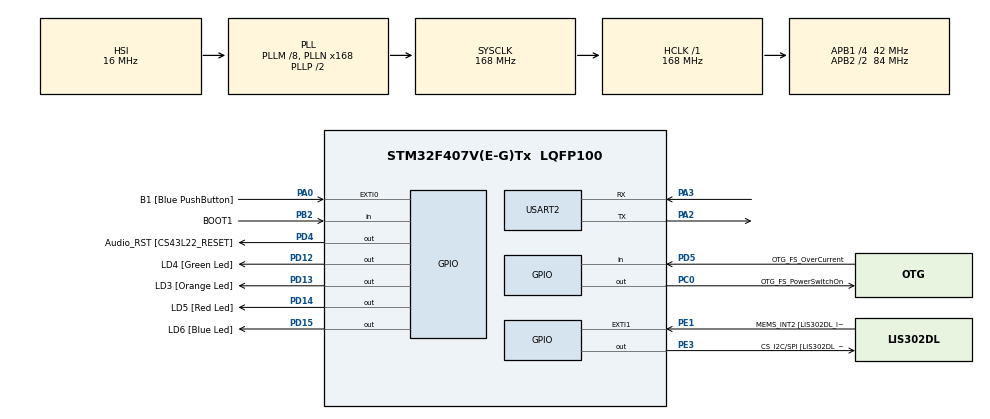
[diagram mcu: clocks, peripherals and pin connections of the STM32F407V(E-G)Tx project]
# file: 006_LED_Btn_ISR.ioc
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Mcu.Family=STM32F4
Mcu.Name=STM32F407V(E-G)Tx
Mcu.Package=LQFP100
NVIC.EXTI0_IRQn=true\:6\:0\:true\:false\:true\:true\:true\:true
NVIC.PriorityGroup=NVIC_PRIORITYGROUP_4
NVIC.TIM6_DAC_IRQn=true\:15\:0\:false\:false\:true\:false\:true\:true
NVIC.TimeBase=TIM6_DAC_IRQn
NVIC.TimeBaseIP=TIM6
PA0-WKUP.GPIO_Label=B1 [Blue PushButton]
PA0-WKUP.GPIO_ModeDefaultEXTI=GPIO_MODE_IT_FALLING
PA0-WKUP.Signal=GPXTI0
PA10.GPIO_Label=OTG_FS_ID
PA10.GPIO_Mode=GPIO_MODE_AF_PP
PA10.GPIO_PuPd=GPIO_NOPULL
PA10.GPIO_Speed=GPIO_SPEED_FREQ_LOW
PA10.Signal=USB_OTG_FS_ID
PA11.GPIO_Label=OTG_FS_DM
PA11.GPIO_Mode=GPIO_MODE_AF_PP
PA11.GPIO_PuPd=GPIO_NOPULL
PA11.GPIO_Speed=GPIO_SPEED_FREQ_LOW
PA11.Signal=USB_OTG_FS_DM
PA12.GPIO_Label=OTG_FS_DP
PA12.GPIO_Mode=GPIO_MODE_AF_PP
PA12.GPIO_PuPd=GPIO_NOPULL
PA12.GPIO_Speed=GPIO_SPEED_FREQ_LOW
PA12.Signal=USB_OTG_FS_DP
PA13.GPIO_Label=SWDIO
PA13.Signal=SYS_JTMS-SWDIO
PA14.GPIO_Label=SWCLK
PA14.Signal=SYS_JTCK-SWCLK
PA2.Mode=Asynchronous
PA2.Signal=USART2_TX
PA3.Mode=Asynchronous
PA3.Signal=USART2_RX
PA4.GPIO_Label=I2S3_WS [CS43L22_LRCK]
PA4.GPIO_Mode=GPIO_MODE_AF_PP
PA4.GPIO_PuPd=GPIO_NOPULL
PA4.GPIO_Speed=GPIO_SPEED_FREQ_LOW
PA4.Signal=I2S3_WS
PA5.GPIO_Label=SPI1_SCK [LIS302DL_SCL/SPC]
PA5.GPIO_Mode=GPIO_MODE_AF_PP
PA5.GPIO_PuPd=GPIO_NOPULL
PA5.GPIO_Speed=GPIO_SPEED_FREQ_LOW
PA5.Signal=SPI1_SCK
PA6.GPIO_Label=SPI1_MISO [LIS302DL_SDO]
PA6.GPIO_Mode=GPIO_MODE_AF_PP
PA6.GPIO_PuPd=GPIO_NOPULL
PA6.GPIO_Speed=GPIO_SPEED_FREQ_LOW
PA6.Signal=SPI1_MISO
PA7.GPIO_Label=SPI1_MOSI [LIS302DL_SDA/SDI/SDO]
PA7.GPIO_Mode=GPIO_MODE_AF_PP
PA7.GPIO_PuPd=GPIO_NOPULL
PA7.GPIO_Speed=GPIO_SPEED_FREQ_LOW
PA7.Signal=SPI1_MOSI
PA9.GPIO_Label=VBUS_FS
PA9.GPIO_Mode=GPIO_MODE_INPUT
PA9.GPIO_PuPd=GPIO_NOPULL
PA9.Signal=USB_OTG_FS_VBUS
PB10.GPIO_Label=CLK_IN [MP45DT02_CLK]
PB10.GPIO_Mode=GPIO_MODE_AF_PP
PB10.GPIO_PuPd=GPIO_NOPULL
PB10.GPIO_Speed=GPIO_SPEED_FREQ_LOW
PB10.Signal=I2S2_CK
PB2.GPIO_Label=BOOT1
PB2.GPIO_Mode=GPIO_MODE_INPUT
PB2.GPIO_PuPd=GPIO_NOPULL
PB2.Signal=GPIO_Input
PB3.GPIO_Label=SWO
PB3.Signal=SYS_JTDO-SWO
PB6.GPIO_Label=Audio_SCL [CS43L22_SCL]
PB6.GPIO_Mode=GPIO_MODE_AF_OD
PB6.GPIO_PuPd=GPIO_NOPULL
PB6.GPIO_Speed=GPIO_SPEED_FREQ_LOW
PB6.Signal=I2C1_SCL
PB9.GPIO_Label=Audio_SDA [CS43L22_SDA]
PB9.GPIO_Mode=GPIO_MODE_AF_OD
PB9.GPIO_PuPd=GPIO_NOPULL
PB9.GPIO_Speed=GPIO_SPEED_FREQ_LOW
PB9.Signal=I2C1_SDA
PC0.GPIO_Label=OTG_FS_PowerSwitchOn
PC0.GPIO_PuPd=GPIO_NOPULL
PC0.GPIO_Speed=GPIO_SPEED_FREQ_LOW
PC0.PinState=GPIO_PIN_SET
PC0.Signal=GPIO_Output
PC10.GPIO_Label=I2S3_SCK [CS43L22_SCLK]
PC10.GPIO_Mode=GPIO_MODE_AF_PP
PC10.GPIO_PuPd=GPIO_NOPULL
PC10.GPIO_Speed=GPIO_SPEED_FREQ_LOW
PC10.Signal=I2S3_CK
PC12.GPIO_Label=I2S3_SD [CS43L22_SDIN]
PC12.GPIO_Mode=GPIO_MODE_AF_PP
PC12.GPIO_PuPd=GPIO_NOPULL
PC12.GPIO_Speed=GPIO_SPEED_FREQ_LOW
PC12.Signal=I2S3_SD
PC14-OSC32_IN.GPIO_Label=PC14-OSC32_IN
PC14-OSC32_IN.Signal=RCC_OSC32_IN
PC15-OSC32_OUT.GPIO_Label=PC15-OSC32_OUT
PC15-OSC32_OUT.Signal=RCC_OSC32_OUT
PC3.GPIO_Label=PDM_OUT [MP45DT02_DOUT]
PC3.GPIO_Mode=GPIO_MODE_AF_PP
PC3.GPIO_PuPd=GPIO_NOPULL
PC3.GPIO_Speed=GPIO_SPEED_FREQ_LOW
PC3.Signal=I2S2_SD
PC7.GPIO_Label=I2S3_MCK [CS43L22_MCLK]
PC7.GPIO_Mode=GPIO_MODE_AF_PP
PC7.GPIO_PuPd=GPIO_NOPULL
PC7.GPIO_Speed=GPIO_SPEED_FREQ_LOW
PC7.Signal=I2S3_MCK
PD12.GPIO_Label=LD4 [Green Led]
PD12.GPIO_PuPd=GPIO_NOPULL
PD12.GPIO_Speed=GPIO_SPEED_FREQ_LOW
PD12.Signal=GPIO_Output
PD13.GPIO_Label=LD3 [Orange Led]
PD13.GPIO_PuPd=GPIO_NOPULL
PD13.GPIO_Speed=GPIO_SPEED_FREQ_LOW
PD13.Signal=GPIO_Output
PD14.GPIO_Label=LD5 [Red Led]
PD14.GPIO_PuPd=GPIO_NOPULL
PD14.GPIO_Speed=GPIO_SPEED_FREQ_LOW
PD14.Signal=GPIO_Output
PD15.GPIO_Label=LD6 [Blue Led]
PD15.GPIO_PuPd=GPIO_NOPULL
PD15.GPIO_Speed=GPIO_SPEED_FREQ_LOW
PD15.Signal=GPIO_Output
PD4.GPIO_Label=Audio_RST [CS43L22_RESET]
PD4.GPIO_PuPd=GPIO_NOPULL
PD4.GPIO_Speed=GPIO_SPEED_FREQ_LOW
PD4.Signal=GPIO_Output
PD5.GPIO_Label=OTG_FS_OverCurrent
PD5.GPIO_Mode=GPIO_MODE_INPUT
PD5.GPIO_PuPd=GPIO_NOPULL
PD5.Signal=GPIO_Input
PE1.GPIO_Label=MEMS_INT2 [LIS302DL_INT2]
PE1.GPIO_ModeDefaultEXTI=GPIO_MODE_EVT_RISING
PE1.GPIO_PuPd=GPIO_NOPULL
PE1.Signal=GPXTI1
PE3.GPIO_Label=CS_I2C/SPI [LIS302DL_CS_I2C/SPI]
PE3.GPIO_PuPd=GPIO_NOPULL
PE3.GPIO_Speed=GPIO_SPEED_FREQ_LOW
PE3.Signal=GPIO_Output
PH0-OSC_IN.GPIO_Label=PH0-OSC_IN
PH0-OSC_IN.Signal=RCC_OSC_IN
PH1-OSC_OUT.GPIO_Label=PH1-OSC_OUT
PH1-OSC_OUT.Signal=RCC_OSC_OUT
ProjectManager.HeapSize=0x200
ProjectManager.StackSize=0x400
ProjectManager.TargetToolchain=STM32CubeIDE
RCC.48MHZClocksFreq_Value=48000000
RCC.AHBFreq_Value=168000000
RCC.APB1CLKDivider=RCC_HCLK_DIV4
RCC.APB1Freq_Value=42000000
RCC.APB1TimFreq_Value=84000000
RCC.APB2CLKDivider=RCC_HCLK_DIV2
RCC.APB2Freq_Value=84000000
RCC.APB2TimFreq_Value=168000000
RCC.CortexFreq_Value=168000000
RCC.HCLKFreq_Value=168000000
RCC.HSE_VALUE=8000000
RCC.HSI_VALUE=16000000
RCC.LSE_VALUE=32768
RCC.PLLM=8
RCC.PLLN=168
RCC.PLLQ=7
RCC.SYSCLKFreq_VALUE=168000000
RCC.SYSCLKSource=RCC_SYSCLKSOURCE_PLLCLK
RCC.VCOOutputFreq_Value=336000000
USART2.VirtualMode=VM_ASYNC
VP_SYS_VS_tim6.Mode=TIM6
board=STM32F407G-DISC1

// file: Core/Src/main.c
/* USER CODE BEGIN Header */
/**
  ******************************************************************************
  * @file           : main.c
  * @brief          : Main program body
  ******************************************************************************
  * @attention
  *
  * Copyright (c) 2025 STMicroelectronics.
  * All rights reserved.
  *
  * This software is licensed under terms that can be found in the LICENSE file
  * in the root directory of this software component.
  * If no LICENSE file comes with this software, it is provided AS-IS.
  *
  ******************************************************************************
  */
/* USER CODE END Header */
#include "main.h"

/* USER CODE BEGIN Includes */
	#include<stdio.h>
	#include"FreeRTOS.h"
	#include"task.h"

/* USER CODE END Includes */

UART_HandleTypeDef huart2;

/* USER CODE BEGIN PV */
#define DWT_CTRL  (*(volatile uint32_t*)0xE0001000)

/* USER CODE END PV */

void SystemClock_Config(void);
static void MX_GPIO_Init(void);
static void MX_USART2_UART_Init(void);
/* USER CODE BEGIN PFP */
static void led_green_handler(void* parameters);
static void led_orange_handler(void* parameters);
static void led_red_handler(void* parameters);

extern void SEGGER_UART_init(uint32_t);

/* USER CODE END PFP */

/* USER CODE BEGIN 0 */
TaskHandle_t ledg_task_handle;
TaskHandle_t ledo_task_handle;
TaskHandle_t ledr_task_handle;
TaskHandle_t btn_task_handle;

TaskHandle_t volatile next_task_handle = NULL;

/* USER CODE END 0 */

int main(void)
{

  /* USER CODE BEGIN 1 */

	BaseType_t status;

  /* USER CODE END 1 */

  /* MCU Configuration--------------------------------------------------------*/

  /* Reset of all peripherals, Initializes the Flash interface and the Systick. */
  HAL_Init();

  /* Configure the system clock */
  SystemClock_Config();

  /* Initialize all configured peripherals */
  MX_GPIO_Init();
  MX_USART2_UART_Init();
  /* USER CODE BEGIN 2 */

  SEGGER_UART_init(500000);

  //Enable the CYCCNT counter
     DWT_CTRL |= (1<<0);

    SEGGER_SYSVIEW_Conf();

   // SEGGER_SYSVIEW_Start();

  	status=xTaskCreate(led_green_handler,"LED-Green_task",200,NULL,3,&ledg_task_handle);
  	configASSERT(status == pdPASS);
  	next_task_handle = ledg_task_handle;

  	status=xTaskCreate(led_orange_handler,"LED-Orange_task",200,NULL,2,&ledo_task_handle);
  	configASSERT(status == pdPASS);

  	status=xTaskCreate(led_red_handler,"LED-Red_task",200,NULL,1,&ledr_task_handle);
  	configASSERT(status == pdPASS);

  	//start the freeRTOS scheduler
  	vTaskStartScheduler();

  /* USER CODE END 2 */

  /* Infinite loop */
  while (1)
  {

  }
}

void SystemClock_Config(void)
{
  RCC_OscInitTypeDef RCC_OscInitStruct = {0};
  RCC_ClkInitTypeDef RCC_ClkInitStruct = {0};

  /** Configure the main internal regulator output voltage
  */
  __HAL_RCC_PWR_CLK_ENABLE();
  __HAL_PWR_VOLTAGESCALING_CONFIG(PWR_REGULATOR_VOLTAGE_SCALE1);

  /** Initializes the RCC Oscillators according to the specified parameters
  * in the RCC_OscInitTypeDef structure.
  */
  RCC_OscInitStruct.OscillatorType = RCC_OSCILLATORTYPE_HSI;
  RCC_OscInitStruct.HSIState = RCC_HSI_ON;
  RCC_OscInitStruct.HSICalibrationValue = RCC_HSICALIBRATION_DEFAULT;
  RCC_OscInitStruct.PLL.PLLState = RCC_PLL_ON;
  RCC_OscInitStruct.PLL.PLLSource = RCC_PLLSOURCE_HSI;
  RCC_OscInitStruct.PLL.PLLM = 8;
  RCC_OscInitStruct.PLL.PLLN = 168;
  RCC_OscInitStruct.PLL.PLLP = RCC_PLLP_DIV2;
  RCC_OscInitStruct.PLL.PLLQ = 7;
  if (HAL_RCC_OscConfig(&RCC_OscInitStruct) != HAL_OK)
  {
    Error_Handler();
  }

  /** Initializes the CPU, AHB and APB buses clocks
  */
  RCC_ClkInitStruct.ClockType = RCC_CLOCKTYPE_HCLK|RCC_CLOCKTYPE_SYSCLK
                              |RCC_CLOCKTYPE_PCLK1|RCC_CLOCKTYPE_PCLK2;
  RCC_ClkInitStruct.SYSCLKSource = RCC_SYSCLKSOURCE_PLLCLK;
  RCC_ClkInitStruct.AHBCLKDivider = RCC_SYSCLK_DIV1;
  RCC_ClkInitStruct.APB1CLKDivider = RCC_HCLK_DIV4;
  RCC_ClkInitStruct.APB2CLKDivider = RCC_HCLK_DIV2;

  if (HAL_RCC_ClockConfig(&RCC_ClkInitStruct, FLASH_LATENCY_5) != HAL_OK)
  {
    Error_Handler();
  }
}

static void MX_USART2_UART_Init(void)
{

  huart2.Instance = USART2;
  huart2.Init.BaudRate = 115200;
  huart2.Init.WordLength = UART_WORDLENGTH_8B;
  huart2.Init.StopBits = UART_STOPBITS_1;
  huart2.Init.Parity = UART_PARITY_NONE;
  huart2.Init.Mode = UART_MODE_TX_RX;
  huart2.Init.HwFlowCtl = UART_HWCONTROL_NONE;
  huart2.Init.OverSampling = UART_OVERSAMPLING_16;
  if (HAL_UART_Init(&huart2) != HAL_OK)
  {
    Error_Handler();
  }

}

static void MX_GPIO_Init(void)
{
  GPIO_InitTypeDef GPIO_InitStruct = {0};

  /* GPIO Ports Clock Enable */
  __HAL_RCC_GPIOE_CLK_ENABLE();
  __HAL_RCC_GPIOC_CLK_ENABLE();
  __HAL_RCC_GPIOH_CLK_ENABLE();
  __HAL_RCC_GPIOA_CLK_ENABLE();
  __HAL_RCC_GPIOB_CLK_ENABLE();
  __HAL_RCC_GPIOD_CLK_ENABLE();

  /*Configure GPIO pin Output Level */
  HAL_GPIO_WritePin(CS_I2C_SPI_GPIO_Port, CS_I2C_SPI_Pin, GPIO_PIN_RESET);

  /*Configure GPIO pin Output Level */
  HAL_GPIO_WritePin(OTG_FS_PowerSwitchOn_GPIO_Port, OTG_FS_PowerSwitchOn_Pin, GPIO_PIN_SET);

  /*Configure GPIO pin Output Level */
  HAL_GPIO_WritePin(GPIOD, LD4_Pin|LD3_Pin|LD5_Pin|LD6_Pin
                          |Audio_RST_Pin, GPIO_PIN_RESET);

  /*Configure GPIO pin : CS_I2C_SPI_Pin */
  GPIO_InitStruct.Pin = CS_I2C_SPI_Pin;
  GPIO_InitStruct.Mode = GPIO_MODE_OUTPUT_PP;
  GPIO_InitStruct.Pull = GPIO_NOPULL;
  GPIO_InitStruct.Speed = GPIO_SPEED_FREQ_LOW;
  HAL_GPIO_Init(CS_I2C_SPI_GPIO_Port, &GPIO_InitStruct);

  /*Configure GPIO pin : OTG_FS_PowerSwitchOn_Pin */
  GPIO_InitStruct.Pin = OTG_FS_PowerSwitchOn_Pin;
  GPIO_InitStruct.Mode = GPIO_MODE_OUTPUT_PP;
  GPIO_InitStruct.Pull = GPIO_NOPULL;
  GPIO_InitStruct.Speed = GPIO_SPEED_FREQ_LOW;
  HAL_GPIO_Init(OTG_FS_PowerSwitchOn_GPIO_Port, &GPIO_InitStruct);

  /*Configure GPIO pin : PDM_OUT_Pin */
  GPIO_InitStruct.Pin = PDM_OUT_Pin;
  GPIO_InitStruct.Mode = GPIO_MODE_AF_PP;
  GPIO_InitStruct.Pull = GPIO_NOPULL;
  GPIO_InitStruct.Speed = GPIO_SPEED_FREQ_LOW;
  GPIO_InitStruct.Alternate = GPIO_AF5_SPI2;
  HAL_GPIO_Init(PDM_OUT_GPIO_Port, &GPIO_InitStruct);

  /*Configure GPIO pin : B1_Pin */
  GPIO_InitStruct.Pin = B1_Pin;
  GPIO_InitStruct.Mode = GPIO_MODE_IT_FALLING;
  GPIO_InitStruct.Pull = GPIO_NOPULL;
  HAL_GPIO_Init(B1_GPIO_Port, &GPIO_InitStruct);

  /*Configure GPIO pin : I2S3_WS_Pin */
  GPIO_InitStruct.Pin = I2S3_WS_Pin;
  GPIO_InitStruct.Mode = GPIO_MODE_AF_PP;
  GPIO_InitStruct.Pull = GPIO_NOPULL;
  GPIO_InitStruct.Speed = GPIO_SPEED_FREQ_LOW;
  GPIO_InitStruct.Alternate = GPIO_AF6_SPI3;
  HAL_GPIO_Init(I2S3_WS_GPIO_Port, &GPIO_InitStruct);

  /*Configure GPIO pins : SPI1_SCK_Pin SPI1_MISO_Pin SPI1_MOSI_Pin */
  GPIO_InitStruct.Pin = SPI1_SCK_Pin|SPI1_MISO_Pin|SPI1_MOSI_Pin;
  GPIO_InitStruct.Mode = GPIO_MODE_AF_PP;
  GPIO_InitStruct.Pull = GPIO_NOPULL;
  GPIO_InitStruct.Speed = GPIO_SPEED_FREQ_LOW;
  GPIO_InitStruct.Alternate = GPIO_AF5_SPI1;
  HAL_GPIO_Init(GPIOA, &GPIO_InitStruct);

  /*Configure GPIO pin : BOOT1_Pin */
  GPIO_InitStruct.Pin = BOOT1_Pin;
  GPIO_InitStruct.Mode = GPIO_MODE_INPUT;
  GPIO_InitStruct.Pull = GPIO_NOPULL;
  HAL_GPIO_Init(BOOT1_GPIO_Port, &GPIO_InitStruct);

  /*Configure GPIO pin : CLK_IN_Pin */
  GPIO_InitStruct.Pin = CLK_IN_Pin;
  GPIO_InitStruct.Mode = GPIO_MODE_AF_PP;
  GPIO_InitStruct.Pull = GPIO_NOPULL;
  GPIO_InitStruct.Speed = GPIO_SPEED_FREQ_LOW;
  GPIO_InitStruct.Alternate = GPIO_AF5_SPI2;
  HAL_GPIO_Init(CLK_IN_GPIO_Port, &GPIO_InitStruct);

  /*Configure GPIO pins : LD4_Pin LD3_Pin LD5_Pin LD6_Pin
                           Audio_RST_Pin */
  GPIO_InitStruct.Pin = LD4_Pin|LD3_Pin|LD5_Pin|LD6_Pin
                          |Audio_RST_Pin;
  GPIO_InitStruct.Mode = GPIO_MODE_OUTPUT_PP;
  GPIO_InitStruct.Pull = GPIO_NOPULL;
  GPIO_InitStruct.Speed = GPIO_SPEED_FREQ_LOW;
  HAL_GPIO_Init(GPIOD, &GPIO_InitStruct);

  /*Configure GPIO pins : I2S3_MCK_Pin I2S3_SCK_Pin I2S3_SD_Pin */
  GPIO_InitStruct.Pin = I2S3_MCK_Pin|I2S3_SCK_Pin|I2S3_SD_Pin;
  GPIO_InitStruct.Mode = GPIO_MODE_AF_PP;
  GPIO_InitStruct.Pull = GPIO_NOPULL;
  GPIO_InitStruct.Speed = GPIO_SPEED_FREQ_LOW;
  GPIO_InitStruct.Alternate = GPIO_AF6_SPI3;
  HAL_GPIO_Init(GPIOC, &GPIO_InitStruct);

  /*Configure GPIO pin : VBUS_FS_Pin */
  GPIO_InitStruct.Pin = VBUS_FS_Pin;
  GPIO_InitStruct.Mode = GPIO_MODE_INPUT;
  GPIO_InitStruct.Pull = GPIO_NOPULL;
  HAL_GPIO_Init(VBUS_FS_GPIO_Port, &GPIO_InitStruct);

  /*Configure GPIO pins : OTG_FS_ID_Pin OTG_FS_DM_Pin OTG_FS_DP_Pin */
  GPIO_InitStruct.Pin = OTG_FS_ID_Pin|OTG_FS_DM_Pin|OTG_FS_DP_Pin;
  GPIO_InitStruct.Mode = GPIO_MODE_AF_PP;
  GPIO_InitStruct.Pull = GPIO_NOPULL;
  GPIO_InitStruct.Speed = GPIO_SPEED_FREQ_LOW;
  GPIO_InitStruct.Alternate = GPIO_AF10_OTG_FS;
  HAL_GPIO_Init(GPIOA, &GPIO_InitStruct);

  /*Configure GPIO pin : OTG_FS_OverCurrent_Pin */
  GPIO_InitStruct.Pin = OTG_FS_OverCurrent_Pin;
  GPIO_InitStruct.Mode = GPIO_MODE_INPUT;
  GPIO_InitStruct.Pull = GPIO_NOPULL;
  HAL_GPIO_Init(OTG_FS_OverCurrent_GPIO_Port, &GPIO_InitStruct);

  /*Configure GPIO pins : Audio_SCL_Pin Audio_SDA_Pin */
  GPIO_InitStruct.Pin = Audio_SCL_Pin|Audio_SDA_Pin;
  GPIO_InitStruct.Mode = GPIO_MODE_AF_OD;
  GPIO_InitStruct.Pull = GPIO_NOPULL;
  GPIO_InitStruct.Speed = GPIO_SPEED_FREQ_LOW;
  GPIO_InitStruct.Alternate = GPIO_AF4_I2C1;
  HAL_GPIO_Init(GPIOB, &GPIO_InitStruct);

  /*Configure GPIO pin : MEMS_INT2_Pin */
  GPIO_InitStruct.Pin = MEMS_INT2_Pin;
  GPIO_InitStruct.Mode = GPIO_MODE_EVT_RISING;
  GPIO_InitStruct.Pull = GPIO_NOPULL;
  HAL_GPIO_Init(MEMS_INT2_GPIO_Port, &GPIO_InitStruct);

  /* EXTI interrupt init*/
  HAL_NVIC_SetPriority(EXTI0_IRQn, 6, 0);
  HAL_NVIC_EnableIRQ(EXTI0_IRQn);

}

/* USER CODE BEGIN 4 */

void button_interrupt_handler(void)
{
	BaseType_t pxHigherPriorityTaskWoken;
	pxHigherPriorityTaskWoken = pdFALSE;

	traceISR_ENTER();
	xTaskNotifyFromISR(next_task_handle,0,eNoAction,&pxHigherPriorityTaskWoken);

	portYIELD_FROM_ISR(pxHigherPriorityTaskWoken);

	traceISR_EXIT();
}

static void led_green_handler(void* parameters)
{

	BaseType_t status;

	while(1)
	{

		SEGGER_SYSVIEW_PrintfTarget("Toggling green led");
		HAL_GPIO_TogglePin(GPIOD, LED_GREEN_PIN);
		status = xTaskNotifyWait(0,0,NULL,pdMS_TO_TICKS(1000));

		if(status == pdTRUE)
		{

			portENTER_CRITICAL();
			next_task_handle = ledo_task_handle;
			HAL_GPIO_WritePin(GPIOD, LED_GREEN_PIN,GPIO_PIN_SET);
			SEGGER_SYSVIEW_PrintfTarget("Delete green task");
			portEXIT_CRITICAL();
			vTaskDelete(NULL);

		}

	}

}

static void led_orange_handler(void* parameters)
{

	BaseType_t status;

	while(1)
	{

		SEGGER_SYSVIEW_PrintfTarget("Toggling orange led");
		HAL_GPIO_TogglePin(GPIOD, LED_ORANGE_PIN);
		status = xTaskNotifyWait(0,0,NULL,pdMS_TO_TICKS(800));

		if(status == pdTRUE)
		{
					portENTER_CRITICAL();
					next_task_handle = ledr_task_handle;
					HAL_GPIO_WritePin(GPIOD, LED_ORANGE_PIN,GPIO_PIN_SET);
					SEGGER_SYSVIEW_PrintfTarget("Delete orange task");
					portEXIT_CRITICAL();
					vTaskDelete(NULL);

		}

	}

}

static void led_red_handler(void* parameters)
{

	BaseType_t status;

	while(1)
	{

		SEGGER_SYSVIEW_PrintfTarget("Toggling red led");
		HAL_GPIO_TogglePin(GPIOD, LED_RED_PIN);
		status = xTaskNotifyWait(0,0,NULL,pdMS_TO_TICKS(400));

		if(status == pdTRUE)
			{
			    portENTER_CRITICAL();
				next_task_handle = NULL;
				HAL_GPIO_WritePin(GPIOD, LED_RED_PIN,GPIO_PIN_SET);
				SEGGER_SYSVIEW_PrintfTarget("Delete red task");
				portEXIT_CRITICAL();
				vTaskDelete(NULL);

			}

	}

}

/* USER CODE END 4 */

void HAL_TIM_PeriodElapsedCallback(TIM_HandleTypeDef *htim)
{
  if (htim->Instance == TIM6) {
    HAL_IncTick();
  }
}

void Error_Handler(void)
{
  __disable_irq();
  while (1)
  {
  }
}
